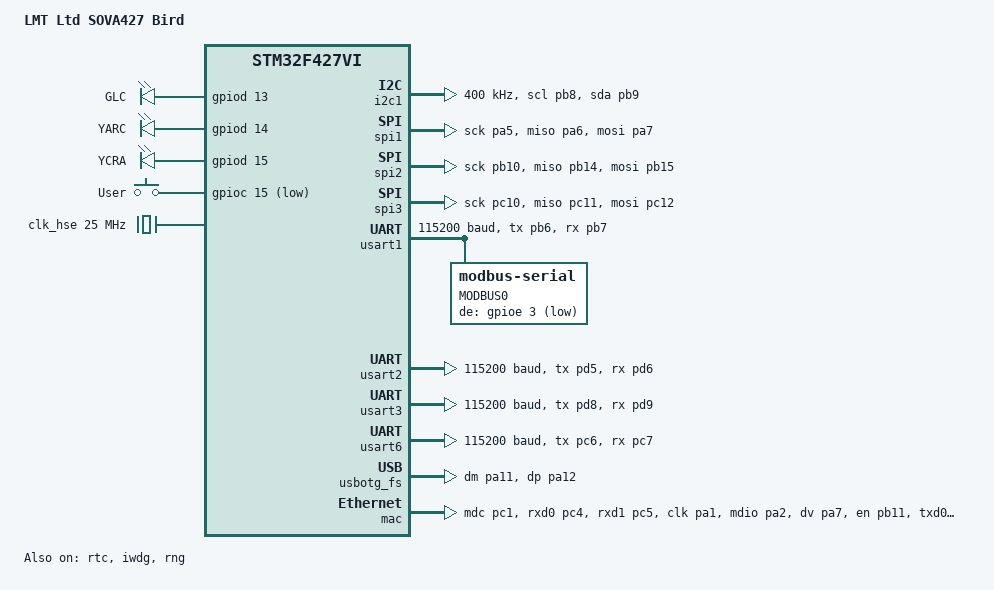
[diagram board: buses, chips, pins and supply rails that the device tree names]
/dts-v1/;
#include <st/f4/stm32f427vi.dtsi>
#include "stm32f427v(g-i)tx-pinctrl.dtsi"
/* #include "bb-header.dtsi" */

/ {
	model = "LMT Ltd SOVA427 Bird";
	compatible = "st,stm32f427vi";

	chosen {
		zephyr,console = &usart6;
		zephyr,shell-uart = &usart6;
		zephyr,uart-mcumgr = &usart6;
		zephyr,sram = &sram0;
		zephyr,flash = &flash0;
		zephyr,ccm = &ccm0;
		zephyr,code-partition = &slot0_partition;
	};

	leds {
		compatible = "gpio-leds";
		glc_led: led_1 {
			gpios = <&gpiod 13 GPIO_ACTIVE_HIGH>;
			label = "GLC";/* Green Light Cathode */
		};
		yarc_led: led_2 {
			gpios = <&gpiod 14 GPIO_ACTIVE_HIGH>, <&gpiod 15 GPIO_ACTIVE_LOW>;
			label = "YARC";/* Yellow Annode Red Cathode */
		};
		ycra_led: led_3 {
			gpios = <&gpiod 15 GPIO_ACTIVE_HIGH>, <&gpiod 14 GPIO_ACTIVE_LOW>;
			label = "YCRA";/* Yellow Cathode Red Annode */
		};
	};


	gpio_keys {
		compatible = "gpio-keys";
		user_button: button {
			label = "User";
			gpios = <&gpioc 15 GPIO_ACTIVE_LOW>;
		};
	};

	aliases {
		led0 = &glc_led;
		led1 = &yarc_led;
		led2 = &ycra_led;
		sw0 = &user_button;
	};
};

&clk_hse {
	clock-frequency = <DT_FREQ_M(25)>;
	status = "okay";
};

&pll {
	div-m = <15>;
	mul-n = <216>;
	div-p = <2>;
	div-q = <4>;
	clocks = <&clk_hse>;
	status = "okay";
};

&rcc {
	clocks = <&pll>;
	clock-frequency = <DT_FREQ_M(180)>; /* highest value to get a precise USB clock */
	ahb-prescaler = <1>;
	apb1-prescaler = <4>;
	apb2-prescaler = <2>;
};

&i2c1 {
	pinctrl-0 = <&i2c1_scl_pb8 &i2c1_sda_pb9>;
	pinctrl-names = "default";
	status = "okay";
	clock-frequency = <I2C_BITRATE_FAST>;
};

&spi1 {
	pinctrl-0 = <&spi1_sck_pa5 &spi1_miso_pa6 &spi1_mosi_pa7>;
	pinctrl-names = "default";
	cs-gpios = <&gpiod 14 (GPIO_ACTIVE_LOW | GPIO_PULL_UP)>;
	status = "okay";
};


&spi2 {
	pinctrl-0 = <&spi2_sck_pb10 &spi2_miso_pb14 &spi2_mosi_pb15>;
	pinctrl-names = "default";
	cs-gpios = <&gpioe 5 (GPIO_ACTIVE_LOW | GPIO_PULL_UP)>;
	status = "okay";
};
&spi3 {
	pinctrl-0 = <&spi3_sck_pc10 &spi3_miso_pc11 &spi3_mosi_pc12>;
	pinctrl-names = "default";
	cs-gpios = <&gpiod 14 (GPIO_ACTIVE_LOW | GPIO_PULL_UP)>;
	status = "okay";
};

&usart1 {
	pinctrl-0 = <&usart1_tx_pb6 &usart1_rx_pb7>;
	pinctrl-names = "default";
	current-speed = <115200>;
	status = "okay";
	modbus0: modbus {
		compatible = "zephyr,modbus-serial";
		label = "MODBUS0";
		de-gpios = <&gpioe 3 GPIO_ACTIVE_LOW>;
		status = "okay";
	};
};

&usart2 {
	pinctrl-0 = <&usart2_tx_pd5 &usart2_rx_pd6>;
	pinctrl-names = "default";
	current-speed = <115200>;
	status = "okay";
};

&usart3 {
	pinctrl-0 = <&usart3_tx_pd8 &usart3_rx_pd9>;
	pinctrl-names = "default";
	current-speed = <115200>;
	status = "okay";
};

&usart6 {
	pinctrl-0 = <&usart6_tx_pc6 &usart6_rx_pc7>;
	pinctrl-names = "default";
	current-speed = <115200>;
	status = "okay";
};

zephyr_udc0: &usbotg_fs {
	pinctrl-0 = <&usb_otg_fs_dm_pa11 &usb_otg_fs_dp_pa12>;
	pinctrl-names = "default";
	status = "okay";
};

&rtc {
	status = "okay";
};

&iwdg {
	status = "okay";
};

&rng {
	status = "okay";
};

&dma2 {
	status = "okay";
};


&mac {
	status = "okay";
	pinctrl-0 = <&eth_mdc_pc1
	&eth_rxd0_pc4
	&eth_rxd1_pc5
	&eth_ref_clk_pa1
	&eth_mdio_pa2
	&eth_crs_dv_pa7
	&eth_tx_en_pb11
	&eth_txd0_pb12
	&eth_txd1_pb13
	>;
	pinctrl-names = "default";
};

&flash0 {
	/*
	 * For more information, see:
	 * https: //docs.zephyrproject.org/latest/reference/devicetree/index.html#fixed-flash-partitions
	 */
	partitions {
		compatible = "fixed-partitions";
		#address-cells = <1>;
		#size-cells = <1>;

		/* 64KB for bootloader */
		boot_partition: partition@0 {
			label = "mcuboot";
			reg = <0x00000000 0x00010000>;
			read-only;
		};

		/* storage: 64KB for settings */
		storage_partition: partition@10000 {
			label = "storage";
			reg = <0x00010000 0x00010000>;
		};

		/* application image slot: 256KB */
		slot0_partition: partition@20000 {
			label = "image-0";
			reg = <0x00020000 0x00040000>;
		};

		/* backup slot: 256KB */
		slot1_partition: partition@60000 {
			label = "image-1";
			reg = <0x00060000 0x00040000>;
		};

		/* swap slot: 128KB */
		scratch_partition: partition@a0000 {
			label = "image-scratch";
			reg = <0x000a0000 0x00020000>;
		};

	};
};
